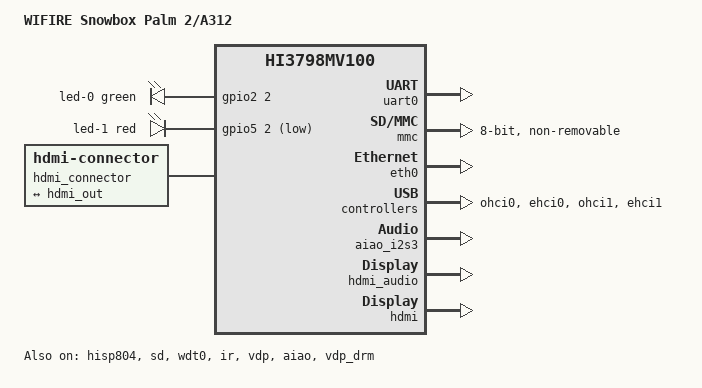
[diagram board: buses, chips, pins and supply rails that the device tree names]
// SPDX-License-Identifier: GPL-2.0-or-later OR MIT

/dts-v1/;
#include "hi3798mv100.dtsi"
#include <dt-bindings/leds/common.h>

/ {
	model = "WIFIRE Snowbox Palm 2/A312";
	compatible = "wifire,a312", "hisilicon,hi3798mv100";

	reserved-memory {
		#address-cells = <1>;
		#size-cells = <1>;
		ranges;

		linux_cma: linux,cma {
			compatible = "shared-dma-pool";
			reusable;
			size = <0x08000000>;
			alignment = <0x00200000>;
			linux,cma-default;
		};
	};

	chosen {
		stdout-path = "serial0:115200n8";
	};

	/*
	 * Front panel, three indicators:
	 *
	 * power - red/green, never goes dark. Its line picks the colour
	 *         instead of switching the part on, so the eMMC trigger
	 *         reads as red flashes over a green idle.
	 * lan   - red/green, only the green half reaches GPIO. Its trigger
	 *         is named after the MDIO bus and PHY address.
	 * sd    - Follows SD slot and blinks with once-a-second card poll "broken-cd".
	 */
	leds {
		compatible = "gpio-leds";

		led-0 {
			color = <LED_COLOR_ID_GREEN>;
			function = LED_FUNCTION_LAN;
			gpios = <&gpio2 2 GPIO_ACTIVE_HIGH>;
			linux,default-trigger = "f9841100.mdio:01:100Mbps";
			default-state = "off";
		};

		led-1 {
			color = <LED_COLOR_ID_RED>;
			function = LED_FUNCTION_POWER;
			gpios = <&gpio5 2 GPIO_ACTIVE_LOW>;
			linux,default-trigger = "mmc0";
			default-state = "off";
		};
	};

	hdmi_connector: hdmi-connector {
		compatible = "hdmi-connector";
		type = "a";

		port {
			hdmi_con_in: endpoint {
				remote-endpoint = <&hdmi_out>;
			};
		};
	};

};

&hisp804 {
	status = "okay";
};

&uart0 {
	status = "okay";
};

&gpio0 {
	status = "okay";
};

&gpio2 {
	status = "okay";
};

&gpio4 {
	status = "okay";
};

&gpio5 {
	status = "okay";
};

&vdd_gpu {
	status = "okay";
};

&vdd_cpu {
	status = "okay";
};

&mmc {
	#address-cells = <1>;
	#size-cells = <0>;
	fifo-depth = <256>;
	clock-frequency = <200000000>;
	max-frequency = <200000000>;
	cap-mmc-highspeed;
	bus-width = <8>;
	mmc-ddr-1_8v;
	mmc-ddr-3_3v;
	mmc-hs200-1_8v;
	non-removable;
	clk-phase-mmc-hs200 = <0 135>;
	hisilicon,ddr52-phase-disable;
	status = "okay";
};

&sd {
	#address-cells = <1>;
	#size-cells = <0>;
	fifo-depth = <256>;
	clock-frequency = <200000000>;
	max-frequency = <200000000>;
	bus-width = <4>;
	card-detect-delay = <200>;
	cap-sd-highspeed;
	disable-wp;
	broken-cd;
	status = "okay";
};

&eth0 {
	status = "okay";
};

&ohci0 {
	status = "okay";
};

&ehci0 {
	status = "okay";
};

&ohci1 {
	status = "okay";
};

&ehci1 {
	status = "okay";
};

&wdt0 {
	status = "okay";
};

&ir {
	linux,rc-map-name = "rc-hisi-poplar";
	status = "okay";
};

&vdp {
	status = "okay";
};

&aiao {
	status = "okay";
};

&aiao_i2s3 {
	status = "okay";
};

&hdmi_audio {
	status = "okay";
};

&hdmi {
	status = "okay";
};

&hdmi_out {
	remote-endpoint = <&hdmi_con_in>;
};

&vdp_drm {
	status = "okay";
};
